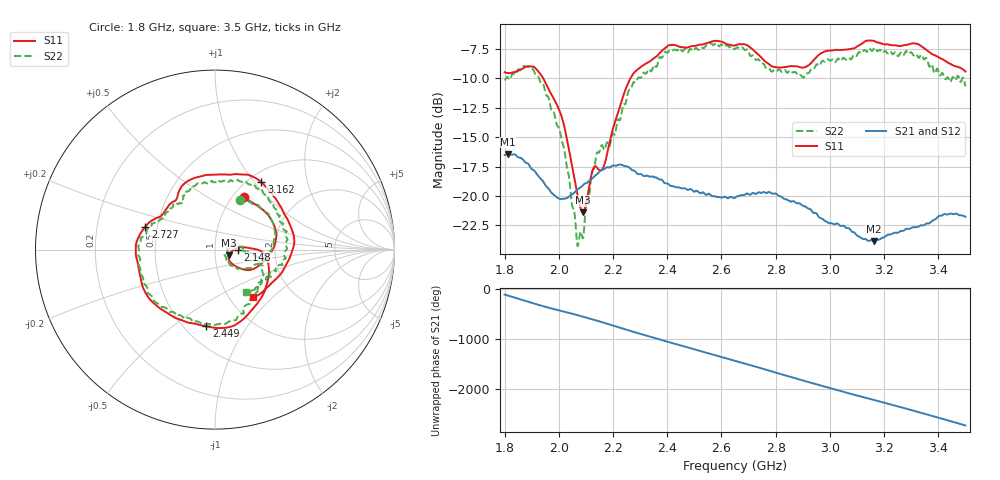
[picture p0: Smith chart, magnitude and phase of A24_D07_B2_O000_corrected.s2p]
! Created with skrf 1.9.0 (http://scikit-rf.org).
# Hz S RI R 50.0
!freq ReS11 ImS11 ReS21 ImS21 ReS12 ImS12 ReS22 ImS22
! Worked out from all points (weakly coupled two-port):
!   1601 points, 1.8 GHz to 3.5 GHz, reference 50 ohm
!   highest |S21| = -16.43 dB at 1.812 GHz (marker M1); lowest = -23.8 dB at 3.161 GHz (marker M2)
!   lowest |S11| = -21.4 dB at 2.089 GHz (marker M3), VSWR 1.19, Z = 58.4 - j3.79 ohm
!   |S11| at or under -10 dB: 1.943 GHz to 2.264 GHz (321.5 MHz wide, 15.3 % of centre)
!   |S22| runs from -24.3 to -7.0 dB; largest |S21 - S12| = 0.0028
!   S11 on the Smith chart (normalised r, x): 1.8 GHz: 1.12, +0.75; 2.148 GHz: 1.30, +0.00; 2.449 GHz: 0.64, -0.67; 2.727 GHz: 0.43, +0.13; 3.162 GHz: 1.14, +1.09; 3.5 GHz: 1.27, -0.76
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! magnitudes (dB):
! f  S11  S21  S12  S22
! 1.8 GHz  -9.5  -16.5  -16.5  -10.2
! 1.812 GHz  -9.5  -16.4  -16.4  -9.9
! 1.881 GHz  -9.0  -17.2  -17.2  -9.0
! 1.941 GHz  -9.9  -18.7  -18.7  -10.5
! 2.013 GHz  -13.4  -20.2  -20.3  -15.4
! 2.067 GHz  -19.6  -19.5  -19.5  -23.9
! 2.084 GHz  -21.3  -19.2  -19.2  -23.2
! 2.089 GHz  -21.4  -19.1  -19.1  -23.6
! 2.126 GHz  -17.7  -18.5  -18.4  -17.8
! 2.148 GHz  -17.8  -18.0  -18.0  -16.3
! 2.19 GHz  -15.2  -17.6  -17.6  -15.6
! 2.262 GHz  -10.1  -17.6  -17.6  -11.0
! 2.367 GHz  -8.0  -18.5  -18.5  -8.5
! 2.449 GHz  -7.3  -19.3  -19.3  -7.5
! 2.65 GHz  -7.2  -20.1  -20.1  -7.5
! 2.727 GHz  -7.8  -19.8  -19.8  -8.4
! 2.799 GHz  -9.0  -19.8  -19.8  -9.3
! 2.934 GHz  -8.6  -21.3  -21.3  -9.2
! 3.161 GHz  -6.8  -23.8  -23.8  -7.5
! 3.162 GHz  -6.8  -23.8  -23.8  -7.5
! 3.217 GHz  -7.1  -23.3  -23.3  -7.8
! 3.5 GHz  -9.4  -21.8  -21.8  -10.7
